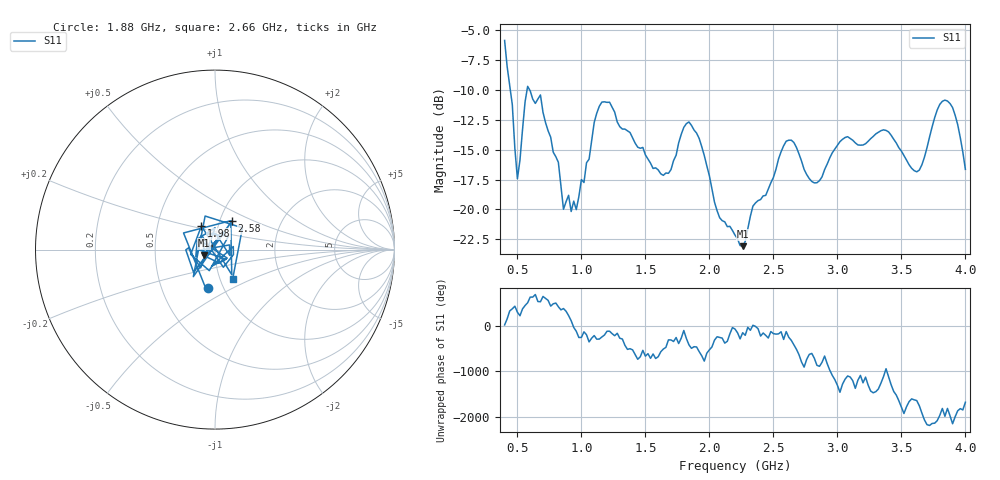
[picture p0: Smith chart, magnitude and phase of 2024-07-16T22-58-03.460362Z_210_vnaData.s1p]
!Created with skrf (http://scikit-rf.org).
# Hz S RI R 50.0
!freq ReS11 ImS11
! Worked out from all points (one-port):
!   181 points, 400 MHz to 4 GHz, reference 50 ohm
!   lowest |S11| = -23.1 dB at 2.26 GHz (marker M1), VSWR 1.15, Z = 44 - j2.72 ohm
!   |S11| at or under -10 dB: 444.4 MHz to 575.2 MHz (130.8 MHz wide, 25.7 % of centre); 596.1 MHz to end of sweep
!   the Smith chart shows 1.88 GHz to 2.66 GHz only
!   S11 on the Smith chart (normalised r, x): 1.88 GHz: 0.85, -0.38; 1.98 GHz: 0.83, +0.22; 2.58 GHz: 1.14, +0.38; 2.66 GHz: 1.15, -0.39
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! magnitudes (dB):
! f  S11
! 400 MHz  -5.9
! 460 MHz  -11.2
! 500 MHz  -17.4
! 580 MHz  -9.7
! 680 MHz  -10.4
! 820 MHz  -16.1
! 860 MHz  -20.0
! 960 MHz  -20.0
! 1.16 GHz  -11.0
! 1.3 GHz  -13.1
! 1.64 GHz  -17.1
! 1.76 GHz  -14.4
! 1.88 GHz  -13.3
! 1.98 GHz  -16.4
! 2.08 GHz  -20.7
! 2.2 GHz  -22.1
! 2.26 GHz  -23.1
! 2.34 GHz  -19.7
! 2.58 GHz  -14.7
! 2.66 GHz  -14.4
! 2.82 GHz  -17.8
! 3.1 GHz  -14.1
! 3.38 GHz  -13.4
! 3.56 GHz  -16.3
! 3.64 GHz  -16.7
! 3.84 GHz  -10.8
! 3.92 GHz  -12.1
! 4 GHz  -16.6
